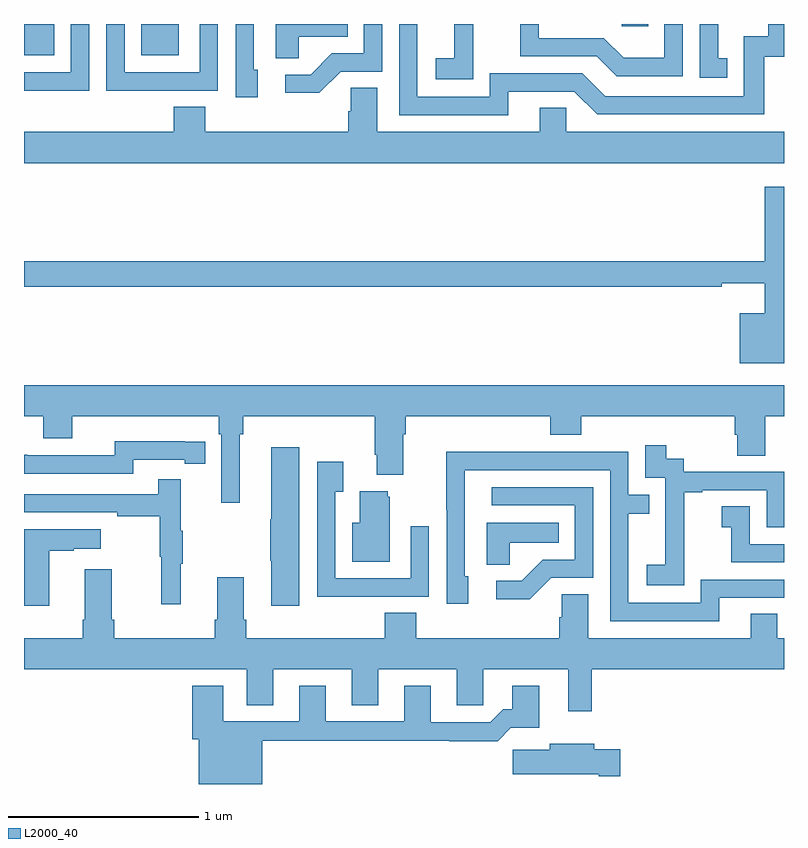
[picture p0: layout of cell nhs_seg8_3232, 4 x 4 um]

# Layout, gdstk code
import gdstk
lib = gdstk.Library(unit=1e-6, precision=1e-09)
def R(c, l, rs):  # rectangles x0, y0, x1, y1
    for r in rs: c.add(gdstk.rectangle(r[:2], r[2:], *l))
def P(c, l, *ps):  # polygons
    for p in ps: c.add(gdstk.Polygon(p, *l))
L2000_40 = (2000, 40)

nhs_seg8_3232 = lib.new_cell('nhs_seg8_3232')
R(nhs_seg8_3232, L2000_40, [(311,1115.735,311.158,1115.9), (311.618,1115.735,311.815,1115.9), (314.145,1115.889,314.285,1115.9)])
P(nhs_seg8_3232, L2000_40, [(313.549,1115.544),(313.896,1115.544),(314.016,1115.424),(314.896,1115.424),(314.896,1115.727),(315,1115.727),(315,1115.9),(314.916,1115.9),(314.916,1115.835),(314.787,1115.835),(314.787,1115.52),(314.058,1115.52),(313.938,1115.64),(313.452,1115.64),(313.452,1115.517),(313.071,1115.517),(313.071,1115.9),(312.975,1115.9),(312.975,1115.421),(313.549,1115.421)],
  [(312.666,1115.649),(312.885,1115.649),(312.885,1115.9),(312.789,1115.9),(312.789,1115.745),(312.62,1115.745),(312.509,1115.634),(312.375,1115.634),(312.375,1115.537),(312.553,1115.537)],
  [(314.466,1115.9),(314.37,1115.9),(314.37,1115.722),(314.156,1115.722),(314.052,1115.826),(313.71,1115.826),(313.71,1115.9),(313.612,1115.9),(313.612,1115.73),(314.015,1115.73),(314.12,1115.625),(314.466,1115.625)],
  [(312.447,1115.834),(312.704,1115.834),(312.704,1115.9),(312.326,1115.9),(312.326,1115.719),(312.447,1115.719)],
  [(313.365,1115.815),(313.364,1115.815),(313.364,1115.9),(313.265,1115.9),(313.265,1115.719),(313.167,1115.719),(313.167,1115.609),(313.365,1115.609)],
  [(311.705,1115.55),(312.021,1115.55),(312.021,1115.9),(311.925,1115.9),(311.925,1115.646),(311.529,1115.646),(311.529,1115.9),(311.433,1115.9),(311.433,1115.549),(311.705,1115.549)],
  [(314.702,1115.721),(314.653,1115.721),(314.653,1115.9),(314.556,1115.9),(314.556,1115.616),(314.702,1115.616)],
  [(311.343,1115.9),(311.247,1115.9),(311.247,1115.646),(311,1115.646),(311,1115.55),(311.071,1115.55),(311.071,1115.549),(311.343,1115.549)],
  [(312.229,1115.658),(312.21,1115.658),(312.21,1115.9),(312.114,1115.9),(312.114,1115.514),(312.229,1115.514)],
  [(315,1115.332),(313.854,1115.332),(313.854,1115.459),(313.715,1115.459),(313.715,1115.332),(312.859,1115.332),(312.859,1115.564),(312.72,1115.564),(312.72,1115.441),(312.707,1115.441),(312.707,1115.332),(311.954,1115.332),(311.954,1115.465),(311.789,1115.465),(311.789,1115.332),(311,1115.332),(311,1115.168),(315,1115.168)],
  [(315,1115.044),(314.898,1115.044),(314.898,1114.652),(311,1114.652),(311,1114.516),(314.672,1114.516),(314.672,1114.535),(314.898,1114.535),(314.898,1114.378),(314.768,1114.378),(314.768,1114.115),(315,1114.115)],
  [(312.136,1113.74),(312.155,1113.74),(312.155,1113.836),(312.845,1113.836),(312.845,1113.634),(312.857,1113.634),(312.857,1113.527),(312.997,1113.527),(312.997,1113.74),(313.01,1113.74),(313.01,1113.836),(313.769,1113.836),(313.769,1113.737),(313.934,1113.737),(313.934,1113.836),(314.741,1113.836),(314.741,1113.738),(314.753,1113.738),(314.753,1113.628),(314.901,1113.628),(314.901,1113.836),(315,1113.836),(315,1114),(311,1114),(311,1113.836),(311.102,1113.836),(311.102,1113.719),(311.254,1113.719),(311.254,1113.836),(312.026,1113.836),(312.026,1113.74),(312.039,1113.74),(312.039,1113.381),(312.136,1113.381)],
  [(311.574,1113.606),(311.846,1113.606),(311.846,1113.586),(311.954,1113.586),(311.954,1113.702),(311.846,1113.702),(311.846,1113.703),(311.478,1113.703),(311.478,1113.63),(311.018,1113.63),(311.018,1113.632),(311,1113.632),(311,1113.534),(311.574,1113.534)],
  [(314.475,1113.151),(314.474,1113.151),(314.474,1113.435),(314.569,1113.435),(314.569,1113.447),(314.91,1113.447),(314.91,1113.252),(315,1113.252),(315,1113.543),(314.472,1113.543),(314.472,1113.612),(314.38,1113.612),(314.38,1113.682),(314.271,1113.682),(314.271,1113.513),(314.376,1113.513),(314.376,1113.284),(314.375,1113.284),(314.375,1113.055),(314.277,1113.055),(314.277,1112.945),(314.475,1112.945)],
  [(312.448,1113.673),(312.302,1113.673),(312.302,1113.293),(312.295,1113.293),(312.295,1113.076),(312.302,1113.076),(312.302,1112.838),(312.448,1112.838)],
  [(314.659,1112.88),(315,1112.88),(315,1112.976),(314.562,1112.976),(314.562,1112.853),(314.181,1112.853),(314.181,1113.322),(314.291,1113.322),(314.291,1113.423),(314.181,1113.423),(314.181,1113.648),(313.685,1113.648),(313.685,1113.65),(313.222,1113.65),(313.222,1113.343),(313.224,1113.343),(313.224,1112.85),(313.339,1112.85),(313.339,1112.994),(313.32,1112.994),(313.32,1113.552),(314.085,1113.552),(314.085,1112.757),(314.659,1112.757)],
  [(312.815,1112.886),(313.131,1112.886),(313.131,1113.256),(313.035,1113.256),(313.035,1112.982),(312.639,1112.982),(312.639,1113.439),(312.679,1113.439),(312.679,1113.595),(312.543,1113.595),(312.543,1112.885),(312.815,1112.885)],
  [(311.825,1113.059),(311.836,1113.059),(311.836,1113.233),(311.825,1113.233),(311.825,1113.505),(311.707,1113.505),(311.707,1113.426),(311,1113.426),(311,1113.33),(311.491,1113.33),(311.491,1113.31),(311.715,1113.31),(311.715,1113.096),(311.722,1113.096),(311.722,1112.847),(311.825,1112.847)],
  [(313.776,1112.985),(313.995,1112.985),(313.995,1113.462),(313.461,1113.462),(313.461,1113.366),(313.899,1113.366),(313.899,1113.081),(313.73,1113.081),(313.619,1112.97),(313.485,1112.97),(313.485,1112.873),(313.663,1112.873)],
  [(312.925,1113.411),(312.914,1113.411),(312.914,1113.442),(312.767,1113.442),(312.767,1113.274),(312.728,1113.274),(312.728,1113.071),(312.925,1113.071)],
  [(315,1113.162),(314.82,1113.162),(314.82,1113.361),(314.673,1113.361),(314.673,1113.251),(314.722,1113.251),(314.722,1113.066),(315,1113.066)],
  [(313.557,1113.17),(313.814,1113.17),(313.814,1113.274),(313.436,1113.274),(313.436,1113.055),(313.557,1113.055)],
  [(311.134,1113.127),(311.261,1113.127),(311.261,1113.137),(311.404,1113.137),(311.404,1113.241),(311,1113.241),(311,1112.838),(311.134,1112.838)],
  [(313.987,1112.504),(315,1112.504),(315,1112.668),(314.964,1112.668),(314.964,1112.795),(314.825,1112.795),(314.825,1112.668),(313.969,1112.668),(313.969,1112.9),(313.83,1112.9),(313.83,1112.777),(313.817,1112.777),(313.817,1112.668),(313.064,1112.668),(313.064,1112.801),(312.899,1112.801),(312.899,1112.668),(312.17,1112.668),(312.17,1112.764),(312.157,1112.764),(312.157,1112.989),(312.017,1112.989),(312.017,1112.764),(312.005,1112.764),(312.005,1112.668),(311.474,1112.668),(311.474,1112.764),(311.461,1112.764),(311.461,1113.031),(311.321,1113.031),(311.321,1112.764),(311.309,1112.764),(311.309,1112.668),(311,1112.668),(311,1112.504),(312.173,1112.504),(312.173,1112.314),(312.313,1112.314),(312.313,1112.504),(312.725,1112.504),(312.725,1112.314),(312.865,1112.314),(312.865,1112.504),(313.277,1112.504),(313.277,1112.314),(313.416,1112.314),(313.416,1112.504),(313.865,1112.504),(313.865,1112.283),(313.987,1112.283)],
  [(312.253,1112.128),(313.237,1112.128),(313.237,1112.126),(313.493,1112.126),(313.562,1112.195),(313.711,1112.195),(313.711,1112.416),(313.571,1112.416),(313.571,1112.293),(313.522,1112.293),(313.455,1112.226),(313.141,1112.226),(313.141,1112.416),(313.001,1112.416),(313.001,1112.229),(312.589,1112.229),(312.589,1112.416),(312.449,1112.416),(312.449,1112.229),(312.049,1112.229),(312.049,1112.416),(311.885,1112.416),(311.885,1112.136),(311.921,1112.136),(311.921,1111.9),(312.253,1111.9)],
  [(314.137,1112.082),(314.002,1112.082),(314.002,1112.113),(313.766,1112.113),(313.766,1112.081),(313.572,1112.081),(313.572,1111.952),(314.024,1111.952),(314.024,1111.94),(314.137,1111.94)])

lib.write_gds('nhs_seg8_3232.gds')
